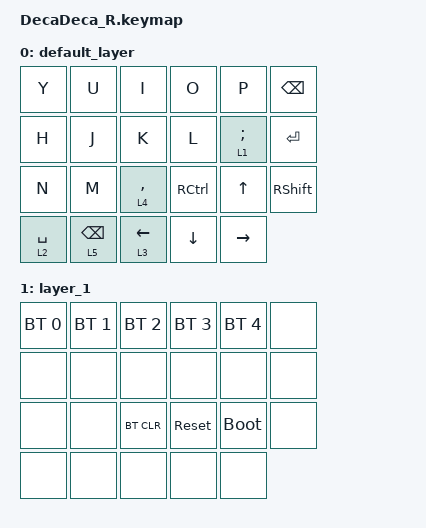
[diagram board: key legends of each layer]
#include <behaviors.dtsi>
#include <dt-bindings/zmk/bt.h>
#include <dt-bindings/zmk/keys.h>
#include <dt-bindings/zmk/keys.h>
#include <dt-bindings/zmk/mouse.h>

/ {

    keymap {
        compatible = "zmk,keymap";

        default_layer {
            bindings = <
&kp Y        &kp U            &kp I        &kp O      &kp P            &kp BACKSPACE
&kp H        &kp J            &kp K        &kp L      &lt 1 SEMICOLON  &kp ENTER
&kp N        &kp M            &lt 4 COMMA  &kp RCTRL  &kp UP_ARROW     &kp RSHIFT
&lt 2 SPACE  &lt 5 BACKSPACE  &lt 3 LEFT   &kp DOWN   &kp RIGHT
            >;
        };

        layer_1 {
            bindings = <
&bt BT_SEL 0  &bt BT_SEL 1  &bt BT_SEL 2  &bt BT_SEL 3  &bt BT_SEL 4  &none
&none         &none         &none         &none         &none         &none
&none         &none         &bt BT_CLR    &sys_reset    &bootloader   &none
&none         &none         &none         &none         &none
            >;
        };
    };
};
